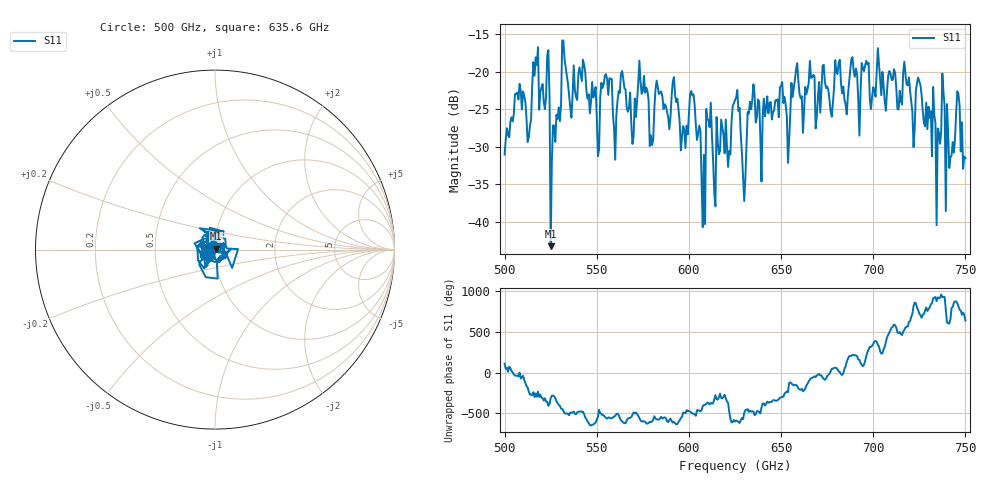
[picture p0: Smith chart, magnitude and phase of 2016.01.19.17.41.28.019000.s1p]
!Created with skrf (http://scikit-rf.org).
# GHz S RI R 50.0
!freq ReS11 ImS11
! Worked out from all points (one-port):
!   401 points, 500 GHz to 750 GHz, reference 50 ohm
!   lowest |S11| = -43.3 dB at 525 GHz (marker M1), VSWR 1.01, Z = 50.5 + j0.494 ohm
!   |S11| at or under -10 dB: start of sweep to end of sweep
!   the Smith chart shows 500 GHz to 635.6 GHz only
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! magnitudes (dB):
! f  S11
! 500 GHz  -31.0
! 506.9 GHz  -22.8
! 513.1 GHz  -28.7
! 516.9 GHz  -18.1
! 523.1 GHz  -17.8
! 525 GHz  -43.3
! 526.2 GHz  -27.1
! 531.2 GHz  -15.8
! 550.6 GHz  -31.3
! 562.5 GHz  -22.8
! 570 GHz  -28.6
! 574.4 GHz  -22.9
! 580 GHz  -29.8
! 583.1 GHz  -22.1
! 593.8 GHz  -23.6
! 601.9 GHz  -23.2
! 607.5 GHz  -40.7
! 610.6 GHz  -26.5
! 614.4 GHz  -38.0
! 625 GHz  -23.8
! 630 GHz  -37.2
! 634.4 GHz  -23.8
! 656.2 GHz  -23.4
! 687.5 GHz  -19.9
! 718.8 GHz  -21.8
! 735.6 GHz  -28.1
! 745.6 GHz  -22.6
! 750 GHz  -31.5
